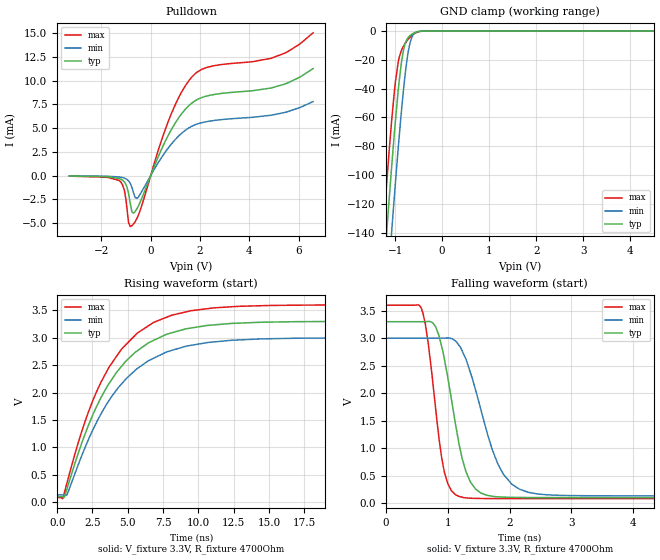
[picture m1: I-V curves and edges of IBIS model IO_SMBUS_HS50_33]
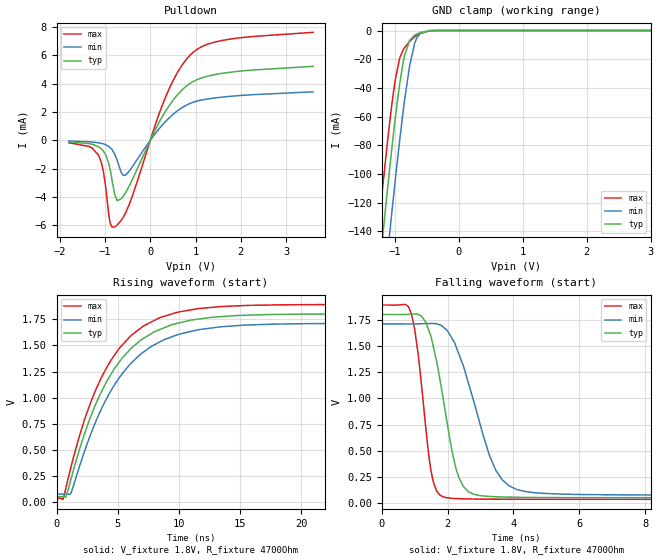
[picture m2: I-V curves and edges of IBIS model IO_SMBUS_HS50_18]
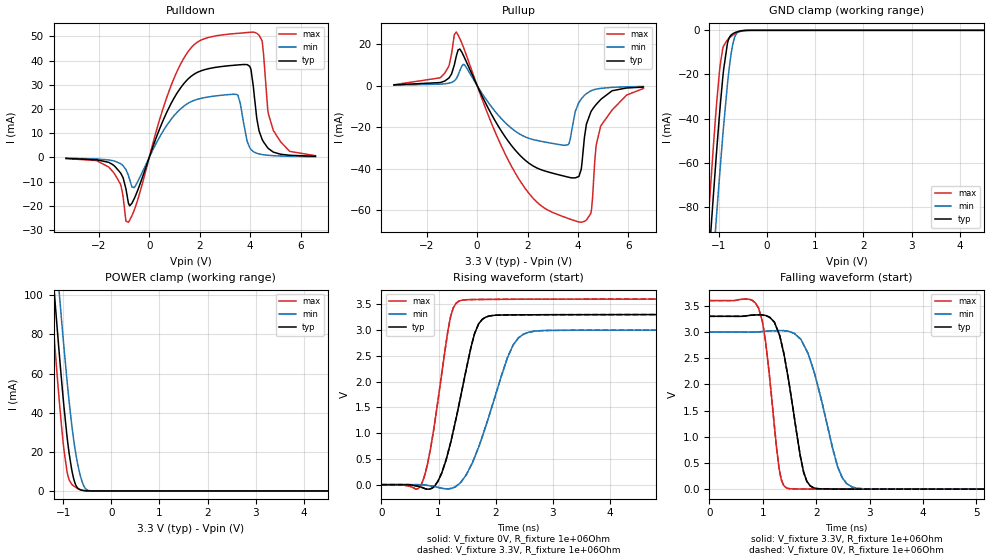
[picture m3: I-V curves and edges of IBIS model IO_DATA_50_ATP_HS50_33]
| Texas Instruments Incorporated
| DS90UR910Q
| 5-65MHz 24-bit Color FPD-Link II to CSI-2 Converter
| Marketing part#   Voltage Range   Package-type   Temperature
| DS90UR910QSQE   1.71V - 3.6V   40-Pin LLP   -40 to 105C
| DS90UR910QSQ   1.71V - 3.6V   40-Pin LLP   -40 to 105C
| DS90UR910QSQX   1.71V - 3.6V   40-Pin LLP   -40 to 105C
[IBIS Ver]   4.0
[File name]   ds90ur910q.ibs
[File Rev]   1.0
[Date]   10/02/2012
[Source]   Model built from SPICE simulations at:
   Texas Instruments Incorporated.
   WEBENCH DESIGN CENTER
   12500 TI Blvd
   Dallas, TX -75243
   For Support e-mail: elab_scm_ibis@list.ti.com
[Notes]   Rev 1.0: 10/02/2012
   - Initial version of the IBIS model
   - All models are generated in Spectre
   - ccomp is listed in numerical order, for PVT information,
   please check notes above ccomp keyword for each model
   - All non-monotonic warnings can be ignored as per buffer behavior
   - Models with trailing xxxx_18 and xxxx_33 represent 1.8V and 3.3V
   power supply operation respectively.
[Disclaimer] This product is designed as an aid for customers of Texas Instruments.
                No warranties, either expressed or implied, with respect to this third
                party software (if any) or with respect to its fitness for any
                particular purpose is claimed by Texas Instruments or the author. The
                software (if any) is provided solely on an "as is" basis. The entire
                risk as to its quality and performance is with the customer
[Copyright]   (C)Copyright 2012 Texas Instruments Incorporated.
   All rights reserved.
[Component]   DS90UR910Q
[Manufacturer]  Texas Instruments, Inc.
[Package]   |40-pin LLP
|   typ   min   max
R_pkg   0   0   0
L_pkg   0   0   0
C_pkg   0   0   0
[Pin]   signal_name   model_name   R_pin   L_pin   C_pin
1   EQ_3   I_DATA_HS50
2   EQ_2   I_DATA_HS50
3   EQ_1   I_DATA_HS50
4   GND   GND
5   SDA   IO_SMBUS_HS50
6   SCL   IO_SMBUS_HS50
7   VDDL   POWER
8   ID_1   I_DATA_HS50
9   ID_0   I_DATA_HS50
10   CONFIG_0   I_DATA_HS50
11   CONFIG_1   I_DATA_HS50
12   CLK-   DRV
13   CLK+   DRV
14   GND   GND
15   DATA0-   DRV
16   DATA0+   DRV
17   GND   GND
18   DATA1-   DRV
19   DATA1+   DRV
20   VDDCSI   POWER
21   GPIO   IO_DATA_50_ATP_HS50
22   GND   GND
23   VDDIO   POWER
24   LOCK   IO_DATA_50_ATP_HS50
25   PASS   IO_DATA_50_HS50
26   VDDL   POWER
27   GND   GND
28   RES   NC
29   BISTEN   IO_DATA_50_HS50
30   PDB   I_PWDN_HS50
31   VDDA   POWER
32   GND   GND
33   RIN+   CML_RX
34   RIN-   CML_RX
35   CMF   NC
36   GND   GND
37   CMLOUT+   NC
38   CMLOUT-   NC
39   VDDA   POWER
40   VDDP   POWER
41   DAP   GND
[Package Model] LLP40_DS90UR910
[Diff pin]  inv_pin  vdiff  tdelay_typ  tdelay_min  tdelay_max
13   12   NA   NA   NA   NA
16   15   NA   NA   NA   NA
19   18   NA   NA   NA   NA
33   34   0.2   NA   NA   NA
[Series Pin Mapping] pin_2 model_name function_table_group
33   34   diff_term
[Model Selector]   DRV
HSDRV   HSTX driver
LPDRV   LPTX driver
[Model Selector]   I_PWDN_HS50
I_PWDN_HS50_33   I_PWDN_HS50 with VDD=3.3V
I_PWDN_HS50_18   I_PWDN_HS50 with VDD=1.8V
[Model Selector]   I_DATA_HS50
I_DATA_HS50_33   I_DATA_HS50 with VDD=3.3V
I_DATA_HS50_18   I_DATA_HS50 with VDD=1.8V
[Model Selector]   IO_SMBUS_HS50
IO_SMBUS_HS50_33   IO_SMBUS_HS50 with VDD=3.3V
IO_SMBUS_HS50_18   IO_SMBUS_HS50 with VDD=1.8V
[Model Selector]   IO_DATA_50_ATP_HS50
IO_DATA_50_ATP_HS50_33   IO_DATA_50_ATP_HS50 with VDD=3.3V
IO_DATA_50_ATP_HS50_18   IO_DATA_50_ATP_HS50 with VDD=1.8V
[Model Selector]   IO_DATA_50_HS50
IO_DATA_50_HS50_33   IO_DATA_50_HS50 with VDD=3.3V
IO_DATA_50_HS50_18   IO_DATA_50_HS50 with VDD=1.8V
[Define Package Model]  LLP40_DS90UR910
[Manufacturer]  Texas Instruments
[OEM]  Texas Instruments
[Description]  None
[Number Of Pins]  41
[Pin Numbers]
|Pin Num   Terminal Name
1   | L1:1
2   | L2:2
3   | L3:3
4   | L4:4
5   | L5:5
6   | L6:6
7   | L7:7
8   | L8:8
9   | L9:9
10   | L10:10
11   | L11:11
12   | L12:12
13   | L13:13
14   | L14:14
15   | L15:15
16   | L16:16
17   | L17:17
18   | L18:18
19   | L19:19
20   | L20:20
21   | L21:21
22   | L22:22
23   | L23:23
24   | L24:24
25   | L25:25
26   | L26:26
27   | L27:27
28   | L28:28
29   | L29:29
30   | L30:30
31   | L31:31
32   | L32:32
33   | L33:33
34   | L34:34
35   | L35:35
36   | L36:36
37   | L37:37
38   | L38:38
39   | L39:39
40   | L40:40
41   | LDAP:41
[Model Data]
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[End Model Data]
[End Package Model]
[Model]   diff_term
Model_type   Series
C_comp   0  0  0
[Voltage Range]   1.8   1.71   1.89
[Temperature Range]   25   105   -40
[R series]   100   90   110
| Models and submodels in the file (14): IO_SMBUS_HS50_33 (I/O_open_drain), IO_SMBUS_HS50_18 (I/O_open_drain), IO_DATA_50_ATP_HS50_33 (I/O), IO_DATA_50_ATP_HS50_18 (I/O), IO_DATA_50_HS50_33 (I/O), IO_DATA_50_HS50_18 (I/O), HSDRV (Output), LPDRV (Output), CML_RX (Input), I_PWDN_HS50_33 (Input), I_PWDN_HS50_18 (Input), I_DATA_HS50_33 (Input), I_DATA_HS50_18 (Input), diff_term (Series)
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|   Model IO_SMBUS_HS50_33
[Model]  IO_SMBUS_HS50_33
Model_type I/O_open_drain
Enable   Active-High
Vinl = 0.8V
Vinh = 2.0V
Vmeas = 1.3V
Vref = 1.4V
Rref = 50
|   typ   min   max
|   (nom)   (fast)   (slow)
C_comp   2.846pF   2.827pF   2.847pF
[Temperature Range]   25.0000   105.000   -40.0000
[Voltage Range]   3.3000V   3.0000V   3.6000V
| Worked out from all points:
|   slope of the pulldown table from 0 to 0.495 V, typ, clamps not added: 161 ohm
|   GND clamp passes 1 mA (typ) near -0.57 V on its own axis
|   falling waveform, V_fixture 3.3V, R_fixture 4700Ohm: 20-80 % time 313ps typ, 462ps min, 222ps max; typ from 3.3 V to 0.101 V
|   rising waveform, V_fixture 3.3V, R_fixture 4700Ohm: 20-80 % time 3.92ns typ, 4.09ns min, 3.8ns max; typ from 0.101 V to 3.3 V
[Pulldown]
|   Voltage   I(typ)   I(min)   I(max)
-3.3V     -50.34uA   -30.88uA   -64.44uA
-1.261V   -330.2uA   -160.2uA   -563uA
-1.073V   -661.8uA   -269.1uA   -1.521mA
-894.3mV  -1.931mA   -564.1uA   -4.993mA
-825mV    -3.027mA   -830.1uA   -5.371mA
-755.7mV  -3.86mA    -1.277mA   -5.263mA
-537.9mV  -3.393mA   -2.366mA   -4.397mA
699.6mV   4.164mA    2.858mA    5.599mA
1.67V     7.624mA    5.188mA    10.36mA
2.442V    8.463mA    5.745mA    11.48mA
4.887V    9.21mA     6.344mA    12.34mA
6.59V     11.25mA    7.782mA    15.02mA
[GND Clamp]
|   Voltage   I(typ)   I(min)   I(max)
-3.3V     -1.167A    -1.21A     -1.135A
-1.251V   -172.2mA   -218.9mA   -137.3mA
-1.162V   -132.2mA   -178.5mA   -98.12mA
-1.073V   -93.94mA   -139.2mA   -61.99mA
-993.3mV  -62.34mA   -105.5mA   -35.34mA
-933.9mV  -41.3mA    -81.43mA   -21.56mA
-825mV    -13.83mA   -41.91mA   -10.68mA
-765.6mV  -6.993mA   -24.57mA   -7.626mA
-706.2mV  -3.93mA    -11.88mA   -5.147mA
-646.8mV  -2.277mA   -4.634mA   -3.183mA
-577.5mV  -1.054mA   -1.289mA   -1.568mA
6.59V     0A         0A         0A
[POWER Clamp]
|   Voltage   I(typ)   I(min)   I(max)
-3.3V     0A         0A         0A
0V        0A         0A         0A
6.59V     0A         0A         0A
[Ramp]
R_load = 4700
|   typ   min   max
dV/dt_r   1.91926/3.92426e-09   1.72026/4.09122e-09   2.11028/3.79737e-09
dV/dt_f   1.91925/3.12626e-10   1.72026/4.61695e-10   2.11029/2.21836e-10
[Falling Waveform]
V_fixture = 3.3V
V_fixture_min = 3V
V_fixture_max = 3.6V
R_fixture = 4700Ohm
C_fixture = 0F
|   Time   V(typ)   V(min)   V(max)
0s        3.3V       3V         3.6V
571ps     3.3V       3V         3.554V
805.3ps   3.21V      2.999V     1.732V
1.005ns   2.269V     3.004V     347.1mV
1.235ns   814.6mV    2.77V      109.6mV
1.463ns   249.1mV    2.013V     87.64mV
1.72ns    127.3mV    977.3mV    85.2mV
2.039ns   106.9mV    344.6mV    84.51mV
3.099ns   102.8mV    138mV      83.96mV
150ns     101.2mV    132.9mV    82.86mV
[Rising Waveform]
V_fixture = 3.3V
V_fixture_min = 3V
V_fixture_max = 3.6V
R_fixture = 4700Ohm
C_fixture = 0F
|   Time   V(typ)   V(min)   V(max)
0s        101.2mV    132.9mV    82.86mV
400.9ps   100.1mV    132.9mV    68.16mV
703.5ps   252.4mV    137.1mV    361.1mV
1.611ns   982.9mV    764.7mV    1.186V
2.589ns   1.632V     1.354V     1.896V
3.677ns   2.166V     1.856V     2.466V
4.566ns   2.482V     2.16V      2.797V
6.834ns   2.953V     2.627V     3.281V
11.07ns   3.235V     2.924V     3.546V
150ns     3.3V       3V         3.6V
|   Model IO_SMBUS_HS50_18
[Model]  IO_SMBUS_HS50_18
Model_type I/O_open_drain
Enable   Active-High
Vinl = 0.63V
Vinh = 1.17V
Vmeas = 1.6V
Vref = 1.65V
Rref = 50
|   typ   min   max
|   (nom)   (fast)   (slow)
C_comp   2.846pF   2.827pF   2.847pF
[Temperature Range]   25.0000   105.000   -40.0000
[Voltage Range]   1.8000V   1.7000V   1.9000V
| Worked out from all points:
|   slope of the pulldown table from 0 to 0.27 V, typ, clamps not added: 159 ohm
|   GND clamp passes 1 mA (typ) near -0.55 V on its own axis
|   falling waveform, V_fixture 1.8V, R_fixture 4700Ohm: 20-80 % time 605ps typ, 953ps min, 387ps max; typ from 1.8 V to 0.054 V
|   rising waveform, V_fixture 1.8V, R_fixture 4700Ohm: 20-80 % time 4.31ns typ, 4.54ns min, 4.17ns max; typ from 0.054 V to 1.8 V
[Pulldown]
|   Voltage   I(typ)   I(min)   I(max)
-1.8V     -104.1uA   -53.41uA   -171.3uA
-1.141V   -461.7uA   -179.9uA   -1.065mA
-1.028V   -797.8uA   -264.8uA   -2.355mA
-898.2mV  -1.902mA   -481.7uA   -5.632mA
-784.8mV  -3.843mA   -977.1uA   -6.124mA
-725.4mV  -4.267mA   -1.471mA   -5.973mA
-541.8mV  -3.682mA   -2.457mA   -5.115mA
306mV     1.89mA     1.222mA    2.806mA
608.4mV   3.247mA    2.103mA    4.837mA
910.8mV   4.087mA    2.646mA    6.118mA
1.667V    4.769mA    3.078mA    7.102mA
3.595V    5.227mA    3.427mA    7.633mA
[GND Clamp]
|   Voltage   I(typ)   I(min)   I(max)
-1.8V     -431.9mA   -478.2mA   -397.4mA
-1.255V   -173.9mA   -220.7mA   -139.1mA
-1.19V    -144.7mA   -191.2mA   -110.3mA
-1.103V   -107mA     -152.7mA   -74.01mA
-1.044V   -82.23mA   -126.9mA   -51.58mA
-990mV    -61.1mA    -104.1mA   -34.41mA
-925.2mV  -38.5mA    -78.02mA   -20.11mA
-865.8mV  -21.96mA   -55.8mA    -13.4mA
-763.2mV  -6.818mA   -23.95mA   -7.516mA
-655.2mV  -2.467mA   -5.353mA   -3.428mA
-428.4mV  -66.97uA   -62.81uA   -122.5uA
3.595V    0A         0A         0A
[POWER Clamp]
|   Voltage   I(typ)   I(min)   I(max)
-1.8V     0A         0A         0A
3.6mV     0A         0A         0A
3.595V    0A         0A         0A
[Ramp]
R_load = 4700
|   typ   min   max
dV/dt_r   1.04751/4.31495e-09   0.978493/4.536e-09   1.11089/4.17131e-09
dV/dt_f   1.04751/6.0476e-10   0.97849/9.52756e-10   1.11088/3.8715e-10
[Falling Waveform]
V_fixture = 1.8V
V_fixture_min = 1.71V
V_fixture_max = 1.89V
R_fixture = 4700Ohm
C_fixture = 0F
|   Time   V(typ)   V(min)   V(max)
0s        1.8V       1.71V      1.89V
900.1ps   1.803V     1.709V     1.806V
1.104ns   1.801V     1.711V     1.42V
1.345ns   1.723V     1.713V     692.4mV
1.665ns   1.355V     1.711V     118.7mV
2.253ns   333.4mV    1.496V     45.8mV
2.627ns   112.2mV    1.152V     42.39mV
3.652ns   61.11mV    227.4mV    39.41mV
5.384ns   55.11mV    89.16mV    38.82mV
150ns     54.15mV    79.15mV    38.53mV
[Rising Waveform]
V_fixture = 1.8V
V_fixture_min = 1.71V
V_fixture_max = 1.89V
R_fixture = 4700Ohm
C_fixture = 0F
|   Time   V(typ)   V(min)   V(max)
0s        54.15mV    79.15mV    38.53mV
555.4ps   54.26mV    79.18mV    37.16mV
798.1ps   59.28mV    79.19mV    154.8mV
1.198ns   229.6mV    93.82mV    346mV
3.221ns   942.4mV    775.9mV    1.079V
5.122ns   1.34V      1.189V     1.47V
7.738ns   1.612V     1.489V     1.722V
11.52ns   1.749V     1.648V     1.85V
24.8ns    1.8V       1.71V      1.889V
150ns     1.8V       1.71V      1.89V
|   Model IO_DATA_50_ATP_HS50_33
[Model]  IO_DATA_50_ATP_HS50_33
Model_type   I/O
Polarity   Non-Inverting
Enable   Active-Low
Vinl =   0.8
Vinh =   2.0
Vmeas = 1.5000V
|   typ   min   max
|   (nom)   (fast)   (slow)
C_comp   1.107pF   0.7658pF   1.107pF
[Temperature Range]   25.0000   105.000   -40.0000
[Voltage Range]   3.3000V   3.0000V   3.6000V
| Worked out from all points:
|   slope of the pulldown table from 0 to 0.495 V, typ, clamps not added: 35.6 ohm
|   slope of the pullup table from 0 to 0.495 V, typ, clamps not added: 40.7 ohm
|   GND clamp passes 1 mA (typ) near -0.66 V on its own axis
|   POWER clamp passes 1 mA (typ) near -0.68 V on its own axis
|   falling waveform, V_fixture 3.3V, R_fixture 1e+06Ohm: 20-80 % time 315ps typ, 446ps min, 224ps max; typ from 3.3 V to 0 V
|   rising waveform, V_fixture 0V, R_fixture 1e+06Ohm: 20-80 % time 388ps typ, 532ps min, 287ps max; typ from 0 V to 3.3 V
|   rising waveform, V_fixture 3.3V, R_fixture 1e+06Ohm: 20-80 % time 388ps typ, 532ps min, 287ps max; typ from 0 V to 3.3 V
|   falling waveform, V_fixture 0V, R_fixture 1e+06Ohm: 20-80 % time 315ps typ, 446ps min, 224ps max; typ from 3.3 V to 0 V
[Pulldown]
|   Voltage   I(typ)   I(min)   I(max)
-3.3V     -399.6uA   -308.7uA   -443.4uA
-1.607V   -2.026mA   -1.041mA   -3.964mA
-1.142V   -6.328mA   -2.544mA   -10.99mA
-825mV    -18.93mA   -7.427mA   -26.76mA
-587.4mV  -16.86mA   -12.36mA   -21.6mA
1.472V    31.7mA     21.95mA    42.69mA
3.472V    38.2mA     26.04mA    51.26mA
4.125V    29.5mA     2.44mA     51.81mA
4.471V    7.592mA    1.207mA    48.3mA
4.699V    3.956mA    908.6uA    19.7mA
4.917V    2.215mA    736uA      11.25mA
6.59V     464.6uA    301.2uA    712.6uA
[GND Clamp]
|   Voltage   I(typ)   I(min)   I(max)
-3.3V     -802.8mA   -807.3mA   -804mA
-1.231V   -110.3mA   -138.1mA   -88.6mA
-1.201V   -100.9mA   -129mA     -79.02mA
-1.122V   -76.42mA   -105mA     -54.22mA
-1.073V   -61.58mA   -90.3mA    -39.6mA
-973.5mV  -33.94mA   -61.9mA    -15.45mA
-914.1mV  -19.88mA   -45.9mA    -7.711mA
-825mV    -5.965mA   -24.59mA   -4.279mA
-735.9mV  -1.901mA   -9.022mA   -2.567mA
-656.7mV  -953uA     -2.194mA   -1.419mA
-409.2mV  -17.01uA   -14.83uA   -33.8uA
6.59V     0A         0A         0A
[Pullup]
|   Voltage   I(typ)   I(min)   I(max)
-3.3V     325.6uA    225.9uA    413.3uA
-1.468V   1.449mA    673.1uA    3.717mA
-825mV    14.28mA    3.334mA    25.7mA
-508.2mV  13.56mA    10.03mA    17.3mA
1.749V    -34.12mA   -23.72mA   -46.68mA
3.61V     -43.98mA   -28.34mA   -63.84mA
4.125V    -40.3mA    -6.456mA   -65.63mA
4.333V    -18.49mA   -3.835mA   -64.59mA
4.511V    -12.58mA   -2.521mA   -61.34mA
4.719V    -9.085mA   -1.72mA    -28.63mA
4.897V    -6.702mA   -1.338mA   -19.52mA
6.59V     -717.4uA   -422.4uA   -1.422mA
[POWER Clamp]
|   Voltage   I(typ)   I(min)   I(max)
-3.3V     808mA      814.6mA    807.4mA
-1.31V    141.4mA    170.7mA    118.7mA
-1.241V   119.3mA    149.3mA    95.93mA
-1.211V   110mA      140.2mA    86.32mA
-1.132V   85.5mA     116.3mA    61.36mA
-1.092V   73.6mA     104.5mA    49.45mA
-1.003V   48.27mA    78.89mA    25.53mA
-924mV    28.79mA    57.57mA    10.55mA
-785.4mV  6.675mA    26.85mA    2.617mA
-646.8mV  602.8uA    8.134mA    725.3uA
-409.2mV  4.707uA    34.47uA    4.032uA
6.59V     0A         0A         0A
[Ramp]
R_load = 1e+06
|   typ   min   max
dV/dt_r   1.97991/3.87804e-10   1.79984/5.32329e-10   2.15993/2.86837e-10
dV/dt_f   1.97992/3.14723e-10   1.79985/4.46294e-10   2.15994/2.24027e-10
[Falling Waveform]
V_fixture = 3.3V
V_fixture_min = 3V
V_fixture_max = 3.6V
R_fixture = 1e+06Ohm
C_fixture = 0F
|   Time   V(typ)   V(min)   V(max)
0s        3.3V       3V         3.6V
920.6ps   3.328V     3.003V     3.46V
1.054ns   3.316V     3.015V     2.804V
1.305ns   2.962V     3.027V     396.8mV
1.446ns   2.297V     3.02V      21.45mV
1.701ns   640.7mV    2.872V     2.949mV
1.823ns   152.7mV    2.64V      2.478mV
2.401ns   2.445mV    430mV      1.225mV
2.671ns   1.782mV    40.85mV    1.029mV
10.05ns   113.2uV    182.4uV    88.99uV
[Rising Waveform]
V_fixture = 0V
V_fixture_min = 0V
V_fixture_max = 0V
R_fixture = 1e+06Ohm
C_fixture = 0F
|   Time   V(typ)   V(min)   V(max)
0s        8.697uV    46.8uV     2.249uV
711.8ps   -54.82mV   -2.462mV   37.54mV
988.1ps   64.26mV    -52.1mV    1.623V
1.211ns   816.3mV    -74.4mV    3.265V
1.391ns   1.732V     49.35mV    3.573V
1.629ns   2.929V     528.6mV    3.591V
1.765ns   3.207V     934.1mV    3.593V
2.209ns   3.292V     2.472V     3.596V
2.568ns   3.295V     2.954V     3.597V
10.05ns   3.3V       3V         3.6V
[Rising Waveform]
V_fixture = 3.3V
V_fixture_min = 3V
V_fixture_max = 3.6V
R_fixture = 1e+06Ohm
C_fixture = 0F
|   Time   V(typ)   V(min)   V(max)
0s        114.3uV    181.2uV    89.49uV
711.8ps   -54.6mV    -2.327mV   38.19mV
988.1ps   65.21mV    -51.81mV   1.624V
1.211ns   817.6mV    -73.57mV   3.266V
1.391ns   1.733V     50.55mV    3.573V
1.629ns   2.93V      530.2mV    3.591V
1.765ns   3.208V     935.8mV    3.593V
2.209ns   3.292V     2.474V     3.596V
2.568ns   3.295V     2.954V     3.597V
10.05ns   3.3V       3V         3.6V
[Falling Waveform]
|Gnd
V_fixture = 0V
V_fixture_min = 0V
V_fixture_max = 0V
R_fixture = 1e+06Ohm
C_fixture = 0F
|   Time   V(typ)   V(min)   V(max)
0s        3.3V       3V         3.6V
920.6ps   3.328V     3.003V     3.459V
1.054ns   3.316V     3.015V     2.804V
1.305ns   2.961V     3.027V     396.1mV
1.446ns   2.296V     3.02V      21.25mV
1.701ns   639.7mV    2.872V     2.824mV
1.823ns   152.2mV    2.64V      2.36mV
2.401ns   2.29mV     428.9mV    1.126mV
2.671ns   1.642mV    40.47mV    932.1uV
10.05ns   7.595uV    48.03uV    1.753uV
